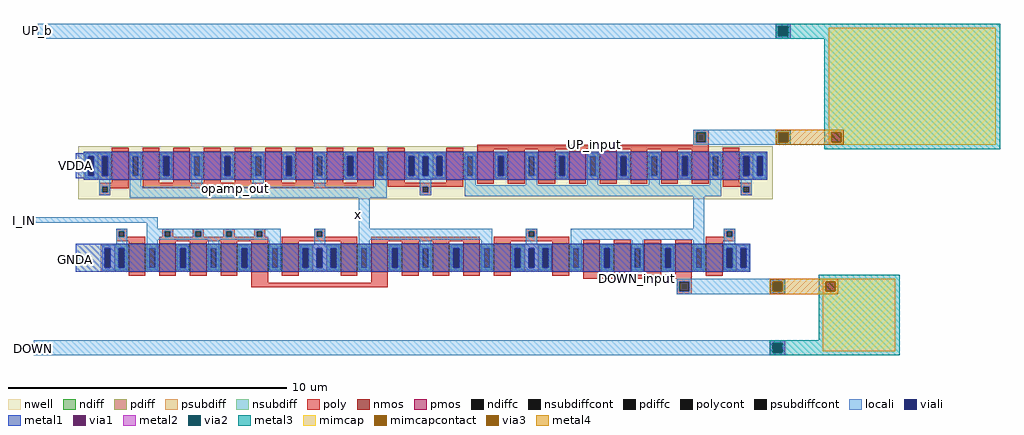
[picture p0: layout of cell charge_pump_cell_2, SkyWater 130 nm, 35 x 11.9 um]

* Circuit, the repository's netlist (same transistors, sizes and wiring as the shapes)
* NGSPICE file created from charge_pump_cell_2.ext - technology: sky130A

****.subckt charge_pump_cell_2
X0 VDDA VDDA a_19460_4470# VDDA sky130_fd_pr__pfet_01v8 ad=0.5 pd=3 as=0.25 ps=1.5 w=1 l=0.6
X1 x opamp_out VDDA VDDA sky130_fd_pr__pfet_01v8 ad=0.25 pd=1.5 as=0.25 ps=1.5 w=1 l=0.6
X2 a_19460_4470# GNDA GNDA GNDA sky130_fd_pr__nfet_01v8 ad=0.25 pd=1.5 as=0.5 ps=3 w=1 l=0.6
X3 VDDA UP_input a_19460_4470# VDDA sky130_fd_pr__pfet_01v8 ad=0.25 pd=1.5 as=0.25 ps=1.5 w=1 l=0.6
X4 a_19460_4470# UP_input VDDA VDDA sky130_fd_pr__pfet_01v8 ad=0.25 pd=1.5 as=0.25 ps=1.5 w=1 l=0.6
X5 DOWN_input DOWN sky130_fd_pr__cap_mim_m3_1 l=2.6 w=2.6
X6 a_19460_4470# UP_input VDDA VDDA sky130_fd_pr__pfet_01v8 ad=0.25 pd=1.5 as=0.25 ps=1.5 w=1 l=0.6
X7 VDDA UP_input a_19460_4470# VDDA sky130_fd_pr__pfet_01v8 ad=0.25 pd=1.5 as=0.25 ps=1.5 w=1 l=0.6
X8 x opamp_out VDDA VDDA sky130_fd_pr__pfet_01v8 ad=0.25 pd=1.5 as=0.25 ps=1.5 w=1 l=0.6
X9 I_IN I_IN GNDA GNDA sky130_fd_pr__nfet_01v8 ad=0.25 pd=1.5 as=0.25 ps=1.5 w=1 l=0.6
X10 VDDA opamp_out x VDDA sky130_fd_pr__pfet_01v8 ad=0.25 pd=1.5 as=0.25 ps=1.5 w=1 l=0.6
X11 VDDA opamp_out x VDDA sky130_fd_pr__pfet_01v8 ad=0.25 pd=1.5 as=0.25 ps=1.5 w=1 l=0.6
X12 a_19460_4470# UP_input VDDA VDDA sky130_fd_pr__pfet_01v8 ad=0.25 pd=1.5 as=0.25 ps=1.5 w=1 l=0.6
X13 GNDA I_IN I_IN GNDA sky130_fd_pr__nfet_01v8 ad=0.25 pd=1.5 as=0.25 ps=1.5 w=1 l=0.6
X14 x opamp_out VDDA VDDA sky130_fd_pr__pfet_01v8 ad=0.25 pd=1.5 as=0.25 ps=1.5 w=1 l=0.6
X15 VDDA UP_input a_19460_4470# VDDA sky130_fd_pr__pfet_01v8 ad=0.25 pd=1.5 as=0.25 ps=1.5 w=1 l=0.6
X16 I_IN I_IN GNDA GNDA sky130_fd_pr__nfet_01v8 ad=0.25 pd=1.5 as=0.25 ps=1.5 w=1 l=0.6
X17 x VDDA VDDA VDDA sky130_fd_pr__pfet_01v8 ad=0.25 pd=1.5 as=0.5 ps=3 w=1 l=0.6
X18 VDDA opamp_out x VDDA sky130_fd_pr__pfet_01v8 ad=0.25 pd=1.5 as=0.25 ps=1.5 w=1 l=0.6
X19 a_19460_4470# UP_input VDDA VDDA sky130_fd_pr__pfet_01v8 ad=0.25 pd=1.5 as=0.25 ps=1.5 w=1 l=0.6
X20 GNDA GNDA I_IN GNDA sky130_fd_pr__nfet_01v8 ad=0.5 pd=3 as=0.25 ps=1.5 w=1 l=0.6
X21 VDDA UP_input a_19460_4470# VDDA sky130_fd_pr__pfet_01v8 ad=0.25 pd=1.5 as=0.25 ps=1.5 w=1 l=0.6
X22 GNDA I_IN x GNDA sky130_fd_pr__nfet_01v8 ad=0.25 pd=1.5 as=0.25 ps=1.5 w=1 l=0.6
X23 GNDA GNDA x GNDA sky130_fd_pr__nfet_01v8 ad=0.5 pd=3 as=0.25 ps=1.5 w=1 l=0.6
X24 x opamp_out VDDA VDDA sky130_fd_pr__pfet_01v8 ad=0.25 pd=1.5 as=0.25 ps=1.5 w=1 l=0.6
X25 x I_IN GNDA GNDA sky130_fd_pr__nfet_01v8 ad=0.25 pd=1.5 as=0.25 ps=1.5 w=1 l=0.6
X26 a_19460_4470# DOWN_input GNDA GNDA sky130_fd_pr__nfet_01v8 ad=0.25 pd=1.5 as=0.25 ps=1.5 w=1 l=0.6
X27 GNDA GNDA a_19460_4470# GNDA sky130_fd_pr__nfet_01v8 ad=0.5 pd=3 as=0.25 ps=1.5 w=1 l=0.6
X28 a_19460_4470# VDDA VDDA VDDA sky130_fd_pr__pfet_01v8 ad=0.25 pd=1.5 as=0.5 ps=3 w=1 l=0.6
X29 VDDA opamp_out x VDDA sky130_fd_pr__pfet_01v8 ad=0.25 pd=1.5 as=0.25 ps=1.5 w=1 l=0.6
X30 GNDA I_IN I_IN GNDA sky130_fd_pr__nfet_01v8 ad=0.25 pd=1.5 as=0.25 ps=1.5 w=1 l=0.6
X31 GNDA I_IN x GNDA sky130_fd_pr__nfet_01v8 ad=0.25 pd=1.5 as=0.25 ps=1.5 w=1 l=0.6
X32 GNDA DOWN_input a_19460_4470# GNDA sky130_fd_pr__nfet_01v8 ad=0.25 pd=1.5 as=0.25 ps=1.5 w=1 l=0.6
X33 UP_input UP_b sky130_fd_pr__cap_mim_m3_1 l=4.2 w=6
X34 I_IN GNDA GNDA GNDA sky130_fd_pr__nfet_01v8 ad=0.25 pd=1.5 as=0.5 ps=3 w=1 l=0.6
X35 a_19460_4470# DOWN_input GNDA GNDA sky130_fd_pr__nfet_01v8 ad=0.25 pd=1.5 as=0.25 ps=1.5 w=1 l=0.6
X36 x I_IN GNDA GNDA sky130_fd_pr__nfet_01v8 ad=0.25 pd=1.5 as=0.25 ps=1.5 w=1 l=0.6
X37 VDDA VDDA x VDDA sky130_fd_pr__pfet_01v8 ad=0.5 pd=3 as=0.25 ps=1.5 w=1 l=0.6
X38 x GNDA GNDA GNDA sky130_fd_pr__nfet_01v8 ad=0.25 pd=1.5 as=0.5 ps=3 w=1 l=0.6
X39 GNDA DOWN_input a_19460_4470# GNDA sky130_fd_pr__nfet_01v8 ad=0.25 pd=1.5 as=0.25 ps=1.5 w=1 l=0.6
.ends

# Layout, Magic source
magic
tech sky130A
<< nwell >>
rect 8350 2165 10840 2355
<< nmos >>
rect 8530 1905 8590 2005
rect 8640 1905 8700 2005
rect 8750 1905 8810 2005
rect 8860 1905 8920 2005
rect 8970 1905 9030 2005
rect 9080 1905 9140 2005
rect 9290 1905 9350 2005
rect 9400 1905 9460 2005
rect 9510 1905 9570 2005
rect 9620 1905 9680 2005
rect 9730 1905 9790 2005
rect 9840 1905 9900 2005
rect 10050 1905 10110 2005
rect 10160 1905 10220 2005
rect 10270 1905 10330 2005
rect 10380 1905 10440 2005
rect 10490 1905 10550 2005
rect 10600 1905 10660 2005
<< pmos >>
rect 8470 2235 8530 2335
rect 8580 2235 8640 2335
rect 8690 2235 8750 2335
rect 8800 2235 8860 2335
rect 8910 2235 8970 2335
rect 9020 2235 9080 2335
rect 9130 2235 9190 2335
rect 9240 2235 9300 2335
rect 9350 2235 9410 2335
rect 9460 2235 9520 2335
rect 9670 2235 9730 2335
rect 9780 2235 9840 2335
rect 9890 2235 9950 2335
rect 10000 2235 10060 2335
rect 10110 2235 10170 2335
rect 10220 2235 10280 2335
rect 10330 2235 10390 2335
rect 10440 2235 10500 2335
rect 10550 2235 10610 2335
rect 10660 2235 10720 2335
<< ndiff >>
rect 8480 1990 8530 2005
rect 8480 1920 8495 1990
rect 8515 1920 8530 1990
rect 8480 1905 8530 1920
rect 8590 1990 8640 2005
rect 8590 1920 8605 1990
rect 8625 1920 8640 1990
rect 8590 1905 8640 1920
rect 8700 1990 8750 2005
rect 8700 1920 8715 1990
rect 8735 1920 8750 1990
rect 8700 1905 8750 1920
rect 8810 1990 8860 2005
rect 8810 1920 8825 1990
rect 8845 1920 8860 1990
rect 8810 1905 8860 1920
rect 8920 1990 8970 2005
rect 8920 1920 8935 1990
rect 8955 1920 8970 1990
rect 8920 1905 8970 1920
rect 9030 1990 9080 2005
rect 9030 1920 9045 1990
rect 9065 1920 9080 1990
rect 9030 1905 9080 1920
rect 9140 1990 9190 2005
rect 9240 1990 9290 2005
rect 9140 1920 9155 1990
rect 9175 1920 9190 1990
rect 9240 1920 9255 1990
rect 9275 1920 9290 1990
rect 9140 1905 9190 1920
rect 9240 1905 9290 1920
rect 9350 1990 9400 2005
rect 9350 1920 9365 1990
rect 9385 1920 9400 1990
rect 9350 1905 9400 1920
rect 9460 1990 9510 2005
rect 9460 1920 9475 1990
rect 9495 1920 9510 1990
rect 9460 1905 9510 1920
rect 9570 1990 9620 2005
rect 9570 1920 9585 1990
rect 9605 1920 9620 1990
rect 9570 1905 9620 1920
rect 9680 1990 9730 2005
rect 9680 1920 9695 1990
rect 9715 1920 9730 1990
rect 9680 1905 9730 1920
rect 9790 1990 9840 2005
rect 9790 1920 9805 1990
rect 9825 1920 9840 1990
rect 9790 1905 9840 1920
rect 9900 1990 9950 2005
rect 10000 1990 10050 2005
rect 9900 1920 9915 1990
rect 9935 1920 9950 1990
rect 10000 1920 10015 1990
rect 10035 1920 10050 1990
rect 9900 1905 9950 1920
rect 10000 1905 10050 1920
rect 10110 1990 10160 2005
rect 10110 1920 10125 1990
rect 10145 1920 10160 1990
rect 10110 1905 10160 1920
rect 10220 1990 10270 2005
rect 10220 1920 10235 1990
rect 10255 1920 10270 1990
rect 10220 1905 10270 1920
rect 10330 1990 10380 2005
rect 10330 1920 10345 1990
rect 10365 1920 10380 1990
rect 10330 1905 10380 1920
rect 10440 1990 10490 2005
rect 10440 1920 10455 1990
rect 10475 1920 10490 1990
rect 10440 1905 10490 1920
rect 10550 1990 10600 2005
rect 10550 1920 10565 1990
rect 10585 1920 10600 1990
rect 10550 1905 10600 1920
rect 10660 1990 10710 2005
rect 10660 1920 10675 1990
rect 10695 1920 10710 1990
rect 10660 1905 10710 1920
<< pdiff >>
rect 8420 2320 8470 2335
rect 8420 2250 8435 2320
rect 8455 2250 8470 2320
rect 8420 2235 8470 2250
rect 8530 2320 8580 2335
rect 8530 2250 8545 2320
rect 8565 2250 8580 2320
rect 8530 2235 8580 2250
rect 8640 2320 8690 2335
rect 8640 2250 8655 2320
rect 8675 2250 8690 2320
rect 8640 2235 8690 2250
rect 8750 2320 8800 2335
rect 8750 2250 8765 2320
rect 8785 2250 8800 2320
rect 8750 2235 8800 2250
rect 8860 2320 8910 2335
rect 8860 2250 8875 2320
rect 8895 2250 8910 2320
rect 8860 2235 8910 2250
rect 8970 2320 9020 2335
rect 8970 2250 8985 2320
rect 9005 2250 9020 2320
rect 8970 2235 9020 2250
rect 9080 2320 9130 2335
rect 9080 2250 9095 2320
rect 9115 2250 9130 2320
rect 9080 2235 9130 2250
rect 9190 2320 9240 2335
rect 9190 2250 9205 2320
rect 9225 2250 9240 2320
rect 9190 2235 9240 2250
rect 9300 2320 9350 2335
rect 9300 2250 9315 2320
rect 9335 2250 9350 2320
rect 9300 2235 9350 2250
rect 9410 2320 9460 2335
rect 9410 2250 9425 2320
rect 9445 2250 9460 2320
rect 9410 2235 9460 2250
rect 9520 2320 9570 2335
rect 9620 2320 9670 2335
rect 9520 2250 9535 2320
rect 9555 2250 9570 2320
rect 9620 2250 9635 2320
rect 9655 2250 9670 2320
rect 9520 2235 9570 2250
rect 9620 2235 9670 2250
rect 9730 2320 9780 2335
rect 9730 2250 9745 2320
rect 9765 2250 9780 2320
rect 9730 2235 9780 2250
rect 9840 2320 9890 2335
rect 9840 2250 9855 2320
rect 9875 2250 9890 2320
rect 9840 2235 9890 2250
rect 9950 2320 10000 2335
rect 9950 2250 9965 2320
rect 9985 2250 10000 2320
rect 9950 2235 10000 2250
rect 10060 2320 10110 2335
rect 10060 2250 10075 2320
rect 10095 2250 10110 2320
rect 10060 2235 10110 2250
rect 10170 2320 10220 2335
rect 10170 2250 10185 2320
rect 10205 2250 10220 2320
rect 10170 2235 10220 2250
rect 10280 2320 10330 2335
rect 10280 2250 10295 2320
rect 10315 2250 10330 2320
rect 10280 2235 10330 2250
rect 10390 2320 10440 2335
rect 10390 2250 10405 2320
rect 10425 2250 10440 2320
rect 10390 2235 10440 2250
rect 10500 2320 10550 2335
rect 10500 2250 10515 2320
rect 10535 2250 10550 2320
rect 10500 2235 10550 2250
rect 10610 2320 10660 2335
rect 10610 2250 10625 2320
rect 10645 2250 10660 2320
rect 10610 2235 10660 2250
rect 10720 2320 10770 2335
rect 10720 2250 10735 2320
rect 10755 2250 10770 2320
rect 10720 2235 10770 2250
<< ndiffc >>
rect 8495 1920 8515 1990
rect 8605 1920 8625 1990
rect 8715 1920 8735 1990
rect 8825 1920 8845 1990
rect 8935 1920 8955 1990
rect 9045 1920 9065 1990
rect 9155 1920 9175 1990
rect 9255 1920 9275 1990
rect 9365 1920 9385 1990
rect 9475 1920 9495 1990
rect 9585 1920 9605 1990
rect 9695 1920 9715 1990
rect 9805 1920 9825 1990
rect 9915 1920 9935 1990
rect 10015 1920 10035 1990
rect 10125 1920 10145 1990
rect 10235 1920 10255 1990
rect 10345 1920 10365 1990
rect 10455 1920 10475 1990
rect 10565 1920 10585 1990
rect 10675 1920 10695 1990
<< pdiffc >>
rect 8435 2250 8455 2320
rect 8545 2250 8565 2320
rect 8655 2250 8675 2320
rect 8765 2250 8785 2320
rect 8875 2250 8895 2320
rect 8985 2250 9005 2320
rect 9095 2250 9115 2320
rect 9205 2250 9225 2320
rect 9315 2250 9335 2320
rect 9425 2250 9445 2320
rect 9535 2250 9555 2320
rect 9635 2250 9655 2320
rect 9745 2250 9765 2320
rect 9855 2250 9875 2320
rect 9965 2250 9985 2320
rect 10075 2250 10095 2320
rect 10185 2250 10205 2320
rect 10295 2250 10315 2320
rect 10405 2250 10425 2320
rect 10515 2250 10535 2320
rect 10625 2250 10645 2320
rect 10735 2250 10755 2320
<< psubdiff >>
rect 8430 1990 8480 2005
rect 8430 1920 8445 1990
rect 8465 1920 8480 1990
rect 8430 1905 8480 1920
rect 9190 1990 9240 2005
rect 9190 1920 9205 1990
rect 9225 1920 9240 1990
rect 9190 1905 9240 1920
rect 9950 1990 10000 2005
rect 9950 1920 9965 1990
rect 9985 1920 10000 1990
rect 9950 1905 10000 1920
rect 10710 1990 10760 2005
rect 10710 1920 10725 1990
rect 10745 1920 10760 1990
rect 10710 1905 10760 1920
<< nsubdiff >>
rect 8370 2320 8420 2335
rect 8370 2250 8385 2320
rect 8405 2250 8420 2320
rect 8370 2235 8420 2250
rect 9570 2320 9620 2335
rect 9570 2250 9585 2320
rect 9605 2250 9620 2320
rect 9570 2235 9620 2250
rect 10770 2320 10820 2335
rect 10770 2250 10785 2320
rect 10805 2250 10820 2320
rect 10770 2235 10820 2250
<< psubdiffcont >>
rect 8445 1920 8465 1990
rect 9205 1920 9225 1990
rect 9965 1920 9985 1990
rect 10725 1920 10745 1990
<< nsubdiffcont >>
rect 8385 2250 8405 2320
rect 9585 2250 9605 2320
rect 10785 2250 10805 2320
<< poly >>
rect 10555 2405 10610 2415
rect 10555 2370 10565 2405
rect 10600 2370 10610 2405
rect 10555 2360 10610 2370
rect 8470 2335 8530 2350
rect 8580 2335 8640 2350
rect 8690 2335 8750 2350
rect 8800 2335 8860 2350
rect 8910 2335 8970 2350
rect 9020 2335 9080 2350
rect 9130 2335 9190 2350
rect 9240 2335 9300 2350
rect 9350 2335 9410 2350
rect 9460 2335 9520 2350
rect 9670 2335 9730 2350
rect 9780 2345 10610 2360
rect 9780 2335 9840 2345
rect 9890 2335 9950 2345
rect 10000 2335 10060 2345
rect 10110 2335 10170 2345
rect 10220 2335 10280 2345
rect 10330 2335 10390 2345
rect 10440 2335 10500 2345
rect 10550 2335 10610 2345
rect 10660 2335 10720 2350
rect 8470 2225 8530 2235
rect 8425 2210 8530 2225
rect 8425 2190 8435 2210
rect 8455 2205 8530 2210
rect 8580 2225 8640 2235
rect 8690 2225 8750 2235
rect 8800 2225 8860 2235
rect 8910 2225 8970 2235
rect 9020 2225 9080 2235
rect 9130 2225 9190 2235
rect 9240 2225 9300 2235
rect 9350 2225 9410 2235
rect 8580 2205 9410 2225
rect 9460 2225 9520 2235
rect 9670 2225 9730 2235
rect 9460 2210 9730 2225
rect 9780 2220 9840 2235
rect 9890 2220 9950 2235
rect 10000 2220 10060 2235
rect 10110 2220 10170 2235
rect 10220 2220 10280 2235
rect 10330 2220 10390 2235
rect 10440 2220 10500 2235
rect 10550 2220 10610 2235
rect 10660 2225 10720 2235
rect 10660 2210 10765 2225
rect 8455 2190 8465 2205
rect 8425 2180 8465 2190
rect 9575 2190 9585 2210
rect 9605 2190 9615 2210
rect 9575 2180 9615 2190
rect 10725 2190 10735 2210
rect 10755 2190 10765 2210
rect 10725 2180 10765 2190
rect 8485 2050 8525 2060
rect 8485 2030 8495 2050
rect 8515 2030 8525 2050
rect 8650 2050 8690 2060
rect 8650 2030 8660 2050
rect 8680 2030 8690 2050
rect 8760 2050 8800 2060
rect 8760 2030 8770 2050
rect 8790 2030 8800 2050
rect 8870 2050 8910 2060
rect 8870 2030 8880 2050
rect 8900 2030 8910 2050
rect 8980 2050 9020 2060
rect 8980 2030 8990 2050
rect 9010 2030 9020 2050
rect 9195 2050 9235 2060
rect 9195 2030 9205 2050
rect 9225 2030 9235 2050
rect 9955 2050 9995 2060
rect 9955 2030 9965 2050
rect 9985 2030 9995 2050
rect 10665 2050 10705 2060
rect 10665 2030 10675 2050
rect 10695 2030 10705 2050
rect 8485 2015 8590 2030
rect 8530 2005 8590 2015
rect 8640 2015 9030 2030
rect 8640 2005 8700 2015
rect 8750 2005 8810 2015
rect 8860 2005 8920 2015
rect 8970 2005 9030 2015
rect 9080 2015 9350 2030
rect 9080 2005 9140 2015
rect 9290 2005 9350 2015
rect 9400 2015 9790 2030
rect 9400 2005 9460 2015
rect 9510 2005 9570 2015
rect 9620 2005 9680 2015
rect 9730 2005 9790 2015
rect 9840 2015 10110 2030
rect 9840 2005 9900 2015
rect 10050 2005 10110 2015
rect 10160 2005 10220 2020
rect 10270 2005 10330 2020
rect 10380 2005 10440 2020
rect 10490 2005 10550 2020
rect 10600 2015 10705 2030
rect 10600 2005 10660 2015
rect 8530 1890 8590 1905
rect 8640 1890 8700 1905
rect 8750 1890 8810 1905
rect 8860 1890 8920 1905
rect 8970 1865 9030 1905
rect 9080 1890 9140 1905
rect 9290 1890 9350 1905
rect 9400 1865 9460 1905
rect 9510 1890 9570 1905
rect 9620 1890 9680 1905
rect 9730 1890 9790 1905
rect 9840 1890 9900 1905
rect 10050 1890 10110 1905
rect 10160 1895 10220 1905
rect 10270 1895 10330 1905
rect 10380 1895 10440 1905
rect 10490 1895 10550 1905
rect 10160 1880 10550 1895
rect 10600 1890 10660 1905
rect 8970 1850 9460 1865
rect 10495 1870 10550 1880
rect 10495 1835 10505 1870
rect 10540 1835 10550 1870
rect 10495 1825 10550 1835
<< polycont >>
rect 10565 2370 10600 2405
rect 8435 2190 8455 2210
rect 9585 2190 9605 2210
rect 10735 2190 10755 2210
rect 8495 2030 8515 2050
rect 8660 2030 8680 2050
rect 8770 2030 8790 2050
rect 8880 2030 8900 2050
rect 8990 2030 9010 2050
rect 9205 2030 9225 2050
rect 9965 2030 9985 2050
rect 10675 2030 10695 2050
rect 10505 1835 10540 1870
<< locali >>
rect 8205 2785 10905 2795
rect 8205 2750 10860 2785
rect 10895 2750 10905 2785
rect 8205 2740 10905 2750
rect 10555 2405 10905 2415
rect 10555 2370 10565 2405
rect 10600 2370 10860 2405
rect 10895 2370 10905 2405
rect 10555 2360 10905 2370
rect 8375 2320 8465 2330
rect 8375 2250 8385 2320
rect 8405 2250 8435 2320
rect 8455 2250 8465 2320
rect 8375 2240 8465 2250
rect 8425 2210 8465 2240
rect 8425 2190 8435 2210
rect 8455 2190 8465 2210
rect 8425 2180 8465 2190
rect 8535 2320 8575 2330
rect 8535 2250 8545 2320
rect 8565 2250 8575 2320
rect 8535 2210 8575 2250
rect 8645 2320 8685 2330
rect 8645 2250 8655 2320
rect 8675 2250 8685 2320
rect 8645 2240 8685 2250
rect 8755 2320 8795 2330
rect 8755 2250 8765 2320
rect 8785 2250 8795 2320
rect 8755 2210 8795 2250
rect 8865 2320 8905 2330
rect 8865 2250 8875 2320
rect 8895 2250 8905 2320
rect 8865 2240 8905 2250
rect 8975 2320 9015 2330
rect 8975 2250 8985 2320
rect 9005 2250 9015 2320
rect 8975 2210 9015 2250
rect 9085 2320 9125 2330
rect 9085 2250 9095 2320
rect 9115 2250 9125 2320
rect 9085 2240 9125 2250
rect 9195 2320 9235 2330
rect 9195 2250 9205 2320
rect 9225 2250 9235 2320
rect 9195 2210 9235 2250
rect 9305 2320 9345 2330
rect 9305 2250 9315 2320
rect 9335 2250 9345 2320
rect 9305 2240 9345 2250
rect 9415 2320 9455 2330
rect 9415 2250 9425 2320
rect 9445 2250 9455 2320
rect 9415 2210 9455 2250
rect 9525 2320 9665 2330
rect 9525 2250 9535 2320
rect 9555 2250 9585 2320
rect 9605 2250 9635 2320
rect 9655 2250 9665 2320
rect 9525 2240 9665 2250
rect 9735 2320 9775 2330
rect 9735 2250 9745 2320
rect 9765 2250 9775 2320
rect 8535 2170 9455 2210
rect 9575 2210 9615 2240
rect 9575 2190 9585 2210
rect 9605 2190 9615 2210
rect 9575 2180 9615 2190
rect 9735 2215 9775 2250
rect 9845 2320 9885 2330
rect 9845 2250 9855 2320
rect 9875 2250 9885 2320
rect 9845 2240 9885 2250
rect 9955 2320 9995 2330
rect 9955 2250 9965 2320
rect 9985 2250 9995 2320
rect 9955 2215 9995 2250
rect 10065 2320 10105 2330
rect 10065 2250 10075 2320
rect 10095 2250 10105 2320
rect 10065 2240 10105 2250
rect 10175 2320 10215 2330
rect 10175 2250 10185 2320
rect 10205 2250 10215 2320
rect 10175 2215 10215 2250
rect 10285 2320 10325 2330
rect 10285 2250 10295 2320
rect 10315 2250 10325 2320
rect 10285 2240 10325 2250
rect 10395 2320 10435 2330
rect 10395 2250 10405 2320
rect 10425 2250 10435 2320
rect 10395 2215 10435 2250
rect 10505 2320 10545 2330
rect 10505 2250 10515 2320
rect 10535 2250 10545 2320
rect 10505 2240 10545 2250
rect 10615 2320 10655 2330
rect 10615 2250 10625 2320
rect 10645 2250 10655 2320
rect 10615 2215 10655 2250
rect 9735 2175 10655 2215
rect 10725 2320 10815 2330
rect 10725 2250 10735 2320
rect 10755 2250 10785 2320
rect 10805 2250 10815 2320
rect 10725 2240 10815 2250
rect 10725 2210 10765 2240
rect 10725 2190 10735 2210
rect 10755 2190 10765 2210
rect 10725 2180 10765 2190
rect 8155 2080 8635 2100
rect 8595 2060 8635 2080
rect 9355 2060 9395 2170
rect 10555 2060 10595 2175
rect 8485 2050 8525 2060
rect 8485 2030 8495 2050
rect 8515 2030 8525 2050
rect 8485 2000 8525 2030
rect 8435 1990 8525 2000
rect 8435 1920 8445 1990
rect 8465 1920 8495 1990
rect 8515 1920 8525 1990
rect 8435 1910 8525 1920
rect 8595 2050 9075 2060
rect 8595 2030 8660 2050
rect 8680 2030 8770 2050
rect 8790 2030 8880 2050
rect 8900 2030 8990 2050
rect 9010 2030 9075 2050
rect 8595 2020 9075 2030
rect 8595 1990 8635 2020
rect 8595 1920 8605 1990
rect 8625 1920 8635 1990
rect 8595 1910 8635 1920
rect 8705 1990 8745 2000
rect 8705 1920 8715 1990
rect 8735 1920 8745 1990
rect 8705 1910 8745 1920
rect 8815 1990 8855 2020
rect 8815 1920 8825 1990
rect 8845 1920 8855 1990
rect 8815 1910 8855 1920
rect 8925 1990 8965 2000
rect 8925 1920 8935 1990
rect 8955 1920 8965 1990
rect 8925 1910 8965 1920
rect 9035 1990 9075 2020
rect 9195 2050 9235 2060
rect 9195 2030 9205 2050
rect 9225 2030 9235 2050
rect 9195 2000 9235 2030
rect 9355 2020 9835 2060
rect 9035 1920 9045 1990
rect 9065 1920 9075 1990
rect 9035 1910 9075 1920
rect 9145 1990 9285 2000
rect 9145 1920 9155 1990
rect 9175 1920 9205 1990
rect 9225 1920 9255 1990
rect 9275 1920 9285 1990
rect 9145 1910 9285 1920
rect 9355 1990 9395 2020
rect 9355 1920 9365 1990
rect 9385 1920 9395 1990
rect 9355 1910 9395 1920
rect 9465 1990 9505 2000
rect 9465 1920 9475 1990
rect 9495 1920 9505 1990
rect 9465 1910 9505 1920
rect 9575 1990 9615 2020
rect 9575 1920 9585 1990
rect 9605 1920 9615 1990
rect 9575 1910 9615 1920
rect 9685 1990 9725 2000
rect 9685 1920 9695 1990
rect 9715 1920 9725 1990
rect 9685 1910 9725 1920
rect 9795 1990 9835 2020
rect 9955 2050 9995 2060
rect 9955 2030 9965 2050
rect 9985 2030 9995 2050
rect 9955 2000 9995 2030
rect 10115 2020 10595 2060
rect 9795 1920 9805 1990
rect 9825 1920 9835 1990
rect 9795 1910 9835 1920
rect 9905 1990 10045 2000
rect 9905 1920 9915 1990
rect 9935 1920 9965 1990
rect 9985 1920 10015 1990
rect 10035 1920 10045 1990
rect 9905 1910 10045 1920
rect 10115 1990 10155 2020
rect 10115 1920 10125 1990
rect 10145 1920 10155 1990
rect 10115 1910 10155 1920
rect 10225 1990 10265 2000
rect 10225 1920 10235 1990
rect 10255 1920 10265 1990
rect 10225 1910 10265 1920
rect 10335 1990 10375 2020
rect 10335 1920 10345 1990
rect 10365 1920 10375 1990
rect 10335 1910 10375 1920
rect 10445 1990 10485 2000
rect 10445 1920 10455 1990
rect 10475 1920 10485 1990
rect 10445 1910 10485 1920
rect 10555 1990 10595 2020
rect 10555 1920 10565 1990
rect 10585 1920 10595 1990
rect 10555 1910 10595 1920
rect 10665 2050 10705 2060
rect 10665 2030 10675 2050
rect 10695 2030 10705 2050
rect 10665 2000 10705 2030
rect 10665 1990 10755 2000
rect 10665 1920 10675 1990
rect 10695 1920 10725 1990
rect 10745 1920 10755 1990
rect 10665 1910 10755 1920
rect 10495 1870 10885 1880
rect 10495 1835 10505 1870
rect 10540 1835 10840 1870
rect 10875 1835 10885 1870
rect 10495 1825 10885 1835
rect 8190 1650 10885 1660
rect 8190 1615 10840 1650
rect 10875 1615 10885 1650
rect 8190 1605 10885 1615
<< viali >>
rect 10860 2750 10895 2785
rect 10860 2370 10895 2405
rect 8385 2250 8405 2320
rect 8435 2250 8455 2320
rect 8655 2250 8675 2320
rect 8875 2250 8895 2320
rect 9095 2250 9115 2320
rect 9315 2250 9335 2320
rect 9535 2250 9555 2320
rect 9585 2250 9605 2320
rect 9635 2250 9655 2320
rect 9855 2250 9875 2320
rect 10075 2250 10095 2320
rect 10295 2250 10315 2320
rect 10515 2250 10535 2320
rect 10735 2250 10755 2320
rect 10785 2250 10805 2320
rect 8445 1920 8465 1990
rect 8495 1920 8515 1990
rect 8715 1920 8735 1990
rect 8935 1920 8955 1990
rect 9155 1920 9175 1990
rect 9205 1920 9225 1990
rect 9255 1920 9275 1990
rect 9475 1920 9495 1990
rect 9695 1920 9715 1990
rect 9915 1920 9935 1990
rect 9965 1920 9985 1990
rect 10015 1920 10035 1990
rect 10235 1920 10255 1990
rect 10455 1920 10475 1990
rect 10675 1920 10695 1990
rect 10725 1920 10745 1990
rect 10840 1835 10875 1870
rect 10840 1615 10875 1650
<< metal1 >>
rect 10850 2785 10905 2795
rect 10850 2750 10860 2785
rect 10895 2750 10905 2785
rect 10850 2740 10905 2750
rect 10850 2405 10905 2415
rect 10850 2370 10860 2405
rect 10895 2370 10905 2405
rect 10850 2360 10905 2370
rect 8370 2330 10820 2335
rect 8340 2320 10820 2330
rect 8340 2250 8385 2320
rect 8405 2250 8435 2320
rect 8455 2250 8655 2320
rect 8675 2250 8875 2320
rect 8895 2250 9095 2320
rect 9115 2250 9315 2320
rect 9335 2250 9535 2320
rect 9555 2250 9585 2320
rect 9605 2250 9635 2320
rect 9655 2250 9855 2320
rect 9875 2250 10075 2320
rect 10095 2250 10295 2320
rect 10315 2250 10515 2320
rect 10535 2250 10735 2320
rect 10755 2250 10785 2320
rect 10805 2250 10820 2320
rect 8340 2240 10820 2250
rect 8370 2235 10820 2240
rect 8340 1990 10760 2005
rect 8340 1920 8445 1990
rect 8465 1920 8495 1990
rect 8515 1920 8715 1990
rect 8735 1920 8935 1990
rect 8955 1920 9155 1990
rect 9175 1920 9205 1990
rect 9225 1920 9255 1990
rect 9275 1920 9475 1990
rect 9495 1920 9695 1990
rect 9715 1920 9915 1990
rect 9935 1920 9965 1990
rect 9985 1920 10015 1990
rect 10035 1920 10235 1990
rect 10255 1920 10455 1990
rect 10475 1920 10675 1990
rect 10695 1920 10725 1990
rect 10745 1920 10760 1990
rect 8340 1905 10760 1920
rect 10830 1870 10885 1880
rect 10830 1835 10840 1870
rect 10875 1835 10885 1870
rect 10830 1825 10885 1835
rect 10830 1650 10885 1660
rect 10830 1615 10840 1650
rect 10875 1615 10885 1650
rect 10830 1605 10885 1615
<< via1 >>
rect 10860 2750 10895 2785
rect 10860 2370 10895 2405
rect 10840 1835 10875 1870
rect 10840 1615 10875 1650
<< metal2 >>
rect 10850 2785 10905 2795
rect 10850 2750 10860 2785
rect 10895 2750 10905 2785
rect 10850 2740 10905 2750
rect 10850 2405 10905 2415
rect 10850 2370 10860 2405
rect 10895 2370 10905 2405
rect 10850 2360 10905 2370
rect 10830 1870 10885 1880
rect 10830 1835 10840 1870
rect 10875 1835 10885 1870
rect 10830 1825 10885 1835
rect 10830 1650 10885 1660
rect 10830 1615 10840 1650
rect 10875 1615 10885 1650
rect 10830 1605 10885 1615
<< via2 >>
rect 10860 2750 10895 2785
rect 10860 2370 10895 2405
rect 10840 1835 10875 1870
rect 10840 1615 10875 1650
<< metal3 >>
rect 10850 2785 11655 2795
rect 10850 2750 10860 2785
rect 10895 2750 11655 2785
rect 10850 2740 11655 2750
rect 10850 2405 10905 2415
rect 10850 2370 10860 2405
rect 10895 2370 10905 2405
rect 10850 2360 10905 2370
rect 11025 2345 11655 2740
rect 10830 1870 10885 1880
rect 10830 1835 10840 1870
rect 10875 1835 10885 1870
rect 10830 1825 10885 1835
rect 11005 1660 11295 1895
rect 10830 1650 11295 1660
rect 10830 1615 10840 1650
rect 10875 1615 11295 1650
rect 10830 1605 11295 1615
<< via3 >>
rect 10860 2370 10895 2405
rect 10840 1835 10875 1870
<< mimcap >>
rect 11040 2405 11640 2780
rect 11040 2370 11050 2405
rect 11085 2370 11640 2405
rect 11040 2360 11640 2370
rect 11020 1870 11280 1880
rect 11020 1835 11030 1870
rect 11065 1835 11280 1870
rect 11020 1620 11280 1835
<< mimcapcontact >>
rect 11050 2370 11085 2405
rect 11030 1835 11065 1870
<< metal4 >>
rect 10850 2405 11095 2415
rect 10850 2370 10860 2405
rect 10895 2370 11050 2405
rect 11085 2370 11095 2405
rect 10850 2360 11095 2370
rect 10830 1870 11075 1880
rect 10830 1835 10840 1870
rect 10875 1835 11030 1870
rect 11065 1835 11075 1870
rect 10830 1825 11075 1835
<< labels >>
flabel locali 8155 2090 8155 2090 7 FreeSans 400 0 -200 0 I_IN
flabel metal1 8340 1950 8340 1950 7 FreeSans 400 0 -200 0 GNDA
flabel metal1 8340 2285 8340 2285 7 FreeSans 400 0 -200 0 VDDA
flabel locali 9355 2110 9355 2110 7 FreeSans 400 0 -200 0 x
flabel poly 8915 2205 8915 2205 5 FreeSans 400 0 0 -200 opamp_out
flabel poly 10200 2360 10200 2360 1 FreeSans 400 0 0 200 UP_input
flabel poly 10355 1880 10355 1880 5 FreeSans 400 0 0 -200 DOWN_input
flabel locali 8190 1630 8190 1630 7 FreeSans 400 0 -200 0 DOWN
flabel locali 8205 2770 8205 2770 7 FreeSans 400 0 -200 0 UP_b
<< end >>
